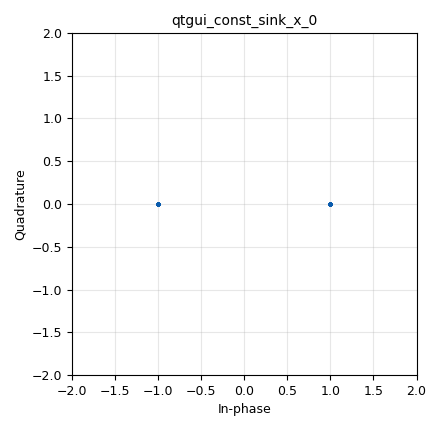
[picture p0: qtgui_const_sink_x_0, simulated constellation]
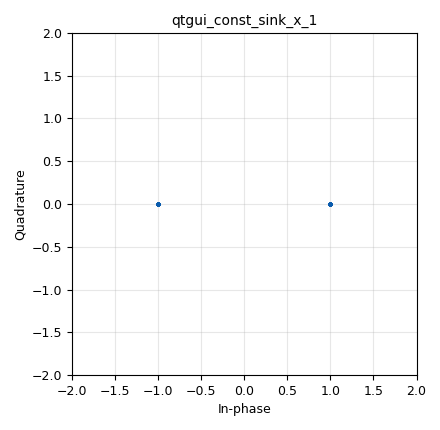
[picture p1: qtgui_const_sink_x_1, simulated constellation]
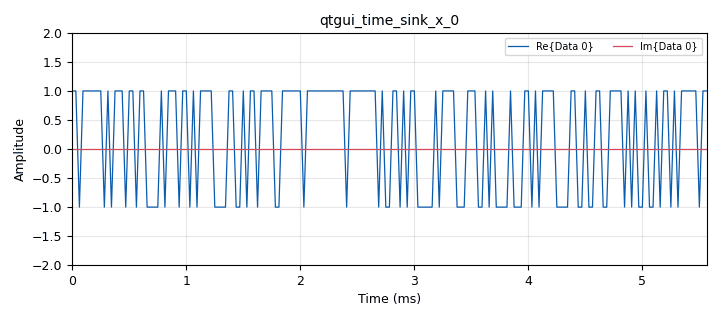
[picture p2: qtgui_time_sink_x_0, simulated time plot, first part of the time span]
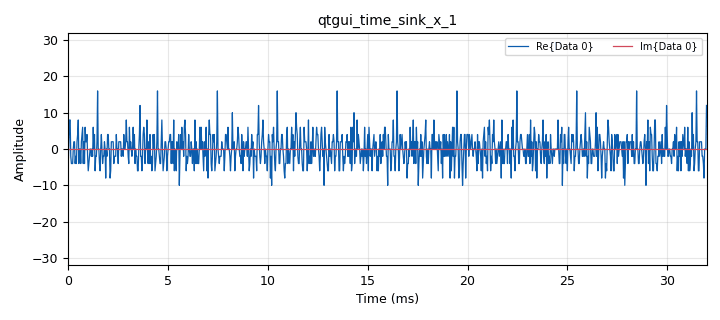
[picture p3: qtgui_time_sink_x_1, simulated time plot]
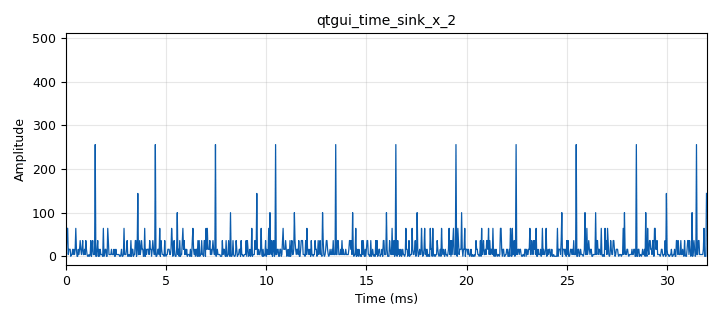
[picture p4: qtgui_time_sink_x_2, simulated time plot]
<?xml version='1.0' encoding='utf-8'?>
<?grc format='1' created='3.7.11'?>
<flow_graph>
<block>
<key>options</key>
<param><key>id</key><value>my_corr_test</value></param>
<param><key>generate_options</key><value>qt_gui</value></param>
</block>
<block>
<key>variable</key>
<param><key>id</key><value>cor_code</value></param>
<param><key>value</key><value>[(1+0j),(-1+0j),(1+0j),(-1+0j),(1+0j),(1+0j),(1+0j),(1+0j),(-1+0j),(-1+0j),(-1+0j),(-1+0j),(1+0j),(1+0j),(-1+0j),(-1+0j)]</value></param>
</block>
<block>
<key>variable</key>
<param><key>id</key><value>packet_length</value></param>
<param><key>value</key><value>10</value></param>
</block>
<block>
<key>variable_constellation</key>
<param><key>id</key><value>pld_const</value></param>
<param><key>type</key><value>bpsk</value></param>
<param><key>soft_dec_lut</key><value>"auto"</value></param>
<param><key>precision</key><value>8</value></param>
</block>
<block>
<key>variable</key>
<param><key>id</key><value>samp_rate</value></param>
<param><key>value</key><value>32000</value></param>
</block>
<block>
<key>analog_random_source_x</key>
<param><key>id</key><value>analog_random_source_x_0</value></param>
<param><key>max</key><value>256</value></param>
<param><key>min</key><value>0</value></param>
<param><key>num_samps</key><value>10000</value></param>
<param><key>type</key><value>byte</value></param>
<param><key>repeat</key><value>True</value></param>
</block>
<block>
<key>blocks_complex_to_mag_squared</key>
<param><key>id</key><value>blocks_complex_to_mag_squared_0</value></param>
</block>
<block>
<key>blocks_repack_bits_bb</key>
<param><key>id</key><value>blocks_repack_bits_bb_0</value></param>
<param><key>k</key><value>8</value></param>
<param><key>l</key><value>pld_const.bits_per_symbol()</value></param>
<param><key>endianness</key><value>gr.GR_MSB_FIRST</value></param>
<param><key>len_tag_key</key><value>"packet_len"</value></param>
</block>
<block>
<key>blocks_stream_mux</key>
<param><key>id</key><value>blocks_stream_mux_0</value></param>
<param><key>lengths</key><value>len(cor_code), packet_length*8/pld_const.bits_per_symbol()</value></param>
<param><key>type</key><value>complex</value></param>
</block>
<block>
<key>blocks_stream_to_tagged_stream</key>
<param><key>id</key><value>blocks_stream_to_tagged_stream_0</value></param>
<param><key>len_tag_key</key><value>"packet_len"</value></param>
<param><key>packet_len</key><value>packet_length</value></param>
<param><key>type</key><value>byte</value></param>
</block>
<block>
<key>blocks_throttle</key>
<param><key>id</key><value>blocks_throttle_0</value></param>
<param><key>samples_per_second</key><value>samp_rate</value></param>
<param><key>type</key><value>complex</value></param>
</block>
<block>
<key>blocks_vector_source_x</key>
<param><key>id</key><value>blocks_vector_source_x_0</value></param>
<param><key>type</key><value>complex</value></param>
<param><key>repeat</key><value>True</value></param>
<param><key>vector</key><value>cor_code</value></param>
</block>
<block>
<key>digital_chunks_to_symbols_xx</key>
<param><key>id</key><value>digital_chunks_to_symbols_xx_0</value></param>
<param><key>dimension</key><value>1</value></param>
<param><key>in_type</key><value>byte</value></param>
<param><key>out_type</key><value>complex</value></param>
<param><key>symbol_table</key><value>pld_const.points()</value></param>
</block>
<block>
<key>digital_corr_est_cc</key>
<param><key>id</key><value>digital_corr_est_cc_0</value></param>
<param><key>sps</key><value>1</value></param>
<param><key>symbols</key><value>cor_code</value></param>
<param><key>mark_delay</key><value>34</value></param>
<param><key>threshold</key><value>0.99</value></param>
</block>
<block>
<key>qtgui_const_sink_x</key>
<param><key>id</key><value>qtgui_const_sink_x_0</value></param>
<param><key>gui_hint</key><value>tab_tx@0</value></param>
<param><key>size</key><value>1024</value></param>
<param><key>type</key><value>complex</value></param>
</block>
<block>
<key>qtgui_const_sink_x</key>
<param><key>id</key><value>qtgui_const_sink_x_1</value></param>
<param><key>gui_hint</key><value>tab_tx@3</value></param>
<param><key>size</key><value>1024</value></param>
<param><key>type</key><value>complex</value></param>
</block>
<block>
<key>qtgui_time_sink_x</key>
<param><key>id</key><value>qtgui_time_sink_x_0</value></param>
<param><key>gui_hint</key><value>tab_tx@1</value></param>
<param><key>color1</key><value>"blue"</value></param>
<param><key>label1</key><value></value></param>
<param><key>color2</key><value>"red"</value></param>
<param><key>label2</key><value></value></param>
<param><key>size</key><value>1024</value></param>
<param><key>srate</key><value>samp_rate</value></param>
<param><key>type</key><value>complex</value></param>
<param><key>ymax</key><value>2</value></param>
<param><key>ymin</key><value>-2</value></param>
</block>
<block>
<key>qtgui_time_sink_x</key>
<param><key>id</key><value>qtgui_time_sink_x_1</value></param>
<param><key>gui_hint</key><value>tab_tx@2</value></param>
<param><key>color1</key><value>"blue"</value></param>
<param><key>label1</key><value></value></param>
<param><key>color2</key><value>"red"</value></param>
<param><key>label2</key><value></value></param>
<param><key>size</key><value>1024</value></param>
<param><key>srate</key><value>samp_rate</value></param>
<param><key>type</key><value>complex</value></param>
<param><key>ymax</key><value>2*len(cor_code)</value></param>
<param><key>ymin</key><value>-2*len(cor_code)</value></param>
</block>
<block>
<key>qtgui_time_sink_x</key>
<param><key>id</key><value>qtgui_time_sink_x_2</value></param>
<param><key>gui_hint</key><value>tab_tx@4</value></param>
<param><key>color1</key><value>"blue"</value></param>
<param><key>label1</key><value></value></param>
<param><key>size</key><value>1024</value></param>
<param><key>srate</key><value>samp_rate</value></param>
<param><key>type</key><value>float</value></param>
<param><key>ymax</key><value>2*(len(cor_code))*len(cor_code)</value></param>
<param><key>ymin</key><value>0</value></param>
</block>
<block>
<key>qtgui_tab_widget</key>
<param><key>id</key><value>tab_tx</value></param>
<param><key>label0</key><value>Time</value></param>
<param><key>label1</key><value>Constellation Map</value></param>
<param><key>label2</key><value>Correlation</value></param>
<param><key>label3</key><value>RX Constellation</value></param>
<param><key>label4</key><value>|Corr|^2</value></param>
<param><key>num_tabs</key><value>5</value></param>
</block>
<connection><source_block_id>analog_random_source_x_0</source_block_id><sink_block_id>blocks_stream_to_tagged_stream_0</sink_block_id><source_key>0</source_key><sink_key>0</sink_key></connection>
<connection><source_block_id>blocks_complex_to_mag_squared_0</source_block_id><sink_block_id>qtgui_time_sink_x_2</sink_block_id><source_key>0</source_key><sink_key>0</sink_key></connection>
<connection><source_block_id>blocks_repack_bits_bb_0</source_block_id><sink_block_id>digital_chunks_to_symbols_xx_0</sink_block_id><source_key>0</source_key><sink_key>0</sink_key></connection>
<connection><source_block_id>blocks_stream_mux_0</source_block_id><sink_block_id>blocks_throttle_0</sink_block_id><source_key>0</source_key><sink_key>0</sink_key></connection>
<connection><source_block_id>blocks_stream_to_tagged_stream_0</source_block_id><sink_block_id>blocks_repack_bits_bb_0</sink_block_id><source_key>0</source_key><sink_key>0</sink_key></connection>
<connection><source_block_id>blocks_throttle_0</source_block_id><sink_block_id>digital_corr_est_cc_0</sink_block_id><source_key>0</source_key><sink_key>0</sink_key></connection>
<connection><source_block_id>blocks_throttle_0</source_block_id><sink_block_id>qtgui_const_sink_x_0</sink_block_id><source_key>0</source_key><sink_key>0</sink_key></connection>
<connection><source_block_id>blocks_throttle_0</source_block_id><sink_block_id>qtgui_time_sink_x_0</sink_block_id><source_key>0</source_key><sink_key>0</sink_key></connection>
<connection><source_block_id>blocks_vector_source_x_0</source_block_id><sink_block_id>blocks_stream_mux_0</sink_block_id><source_key>0</source_key><sink_key>0</sink_key></connection>
<connection><source_block_id>digital_chunks_to_symbols_xx_0</source_block_id><sink_block_id>blocks_stream_mux_0</sink_block_id><source_key>0</source_key><sink_key>1</sink_key></connection>
<connection><source_block_id>digital_corr_est_cc_0</source_block_id><sink_block_id>blocks_complex_to_mag_squared_0</sink_block_id><source_key>1</source_key><sink_key>0</sink_key></connection>
<connection><source_block_id>digital_corr_est_cc_0</source_block_id><sink_block_id>qtgui_time_sink_x_1</sink_block_id><source_key>1</source_key><sink_key>0</sink_key></connection>
<connection><source_block_id>digital_corr_est_cc_0</source_block_id><sink_block_id>qtgui_const_sink_x_1</sink_block_id><source_key>0</source_key><sink_key>0</sink_key></connection>
</flow_graph>
